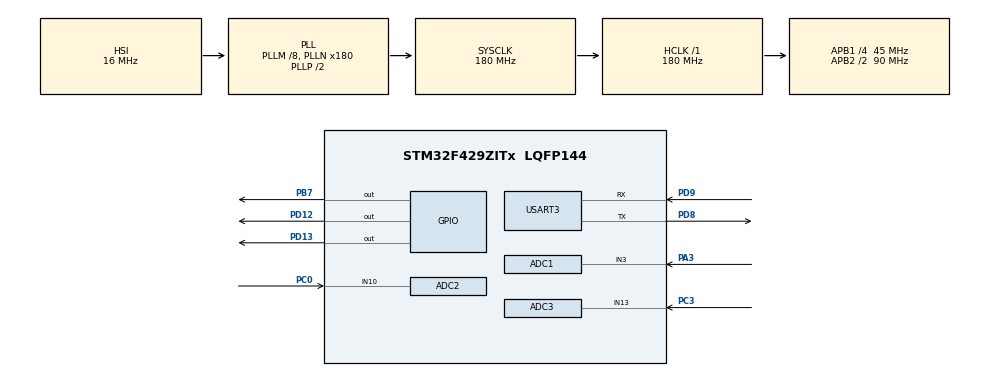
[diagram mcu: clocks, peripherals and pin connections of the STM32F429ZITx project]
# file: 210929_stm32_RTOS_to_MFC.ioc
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ADC1.Channel-1\#ChannelRegularConversion=ADC_CHANNEL_3
ADC1.NbrOfConversionFlag=1
ADC1.Rank-1\#ChannelRegularConversion=1
ADC1.SamplingTime-1\#ChannelRegularConversion=ADC_SAMPLETIME_3CYCLES
ADC1.master=1
ADC2.Channel-0\#ChannelRegularConversion=ADC_CHANNEL_10
ADC2.NbrOfConversionFlag=1
ADC2.Rank-0\#ChannelRegularConversion=1
ADC2.SamplingTime-0\#ChannelRegularConversion=ADC_SAMPLETIME_3CYCLES
ADC3.Channel-0\#ChannelRegularConversion=ADC_CHANNEL_13
ADC3.NbrOfConversionFlag=1
ADC3.Rank-0\#ChannelRegularConversion=1
ADC3.SamplingTime-0\#ChannelRegularConversion=ADC_SAMPLETIME_3CYCLES
FREERTOS.Tasks01=defaultTask,24,128,StartDefaultTask,Default,NULL,Dynamic,NULL,NULL
Mcu.Family=STM32F4
Mcu.Name=STM32F429ZITx
Mcu.Package=LQFP144
NVIC.ADC_IRQn=true\:5\:0\:false\:false\:true\:true\:true\:true
NVIC.PriorityGroup=NVIC_PRIORITYGROUP_4
NVIC.TIM4_IRQn=true\:0\:0\:false\:false\:true\:false\:false\:true
NVIC.TimeBase=TIM4_IRQn
NVIC.TimeBaseIP=TIM4
NVIC.USART3_IRQn=true\:5\:0\:false\:true\:true\:1\:true\:true\:true
PA13.Mode=Serial_Wire
PA13.Signal=SYS_JTMS-SWDIO
PA14.Mode=Serial_Wire
PA14.Signal=SYS_JTCK-SWCLK
PA3.Signal=ADCx_IN3
PB7.Signal=GPIO_Output
PC0.Signal=ADCx_IN10
PC14/OSC32_IN.Mode=LSE-External-Oscillator
PC14/OSC32_IN.Signal=RCC_OSC32_IN
PC15/OSC32_OUT.Mode=LSE-External-Oscillator
PC15/OSC32_OUT.Signal=RCC_OSC32_OUT
PC3.Signal=ADCx_IN13
PD12.Signal=GPIO_Output
PD13.Signal=GPIO_Output
PD8.Mode=Asynchronous
PD8.Signal=USART3_TX
PD9.Mode=Asynchronous
PD9.Signal=USART3_RX
ProjectManager.HeapSize=0x200
ProjectManager.StackSize=0x400
ProjectManager.TargetToolchain=STM32CubeIDE
RCC.48MHZClocksFreq_Value=90000000
RCC.AHBFreq_Value=180000000
RCC.APB1CLKDivider=RCC_HCLK_DIV4
RCC.APB1Freq_Value=45000000
RCC.APB1TimFreq_Value=90000000
RCC.APB2CLKDivider=RCC_HCLK_DIV2
RCC.APB2Freq_Value=90000000
RCC.APB2TimFreq_Value=180000000
RCC.CortexFreq_Value=180000000
RCC.HCLKFreq_Value=180000000
RCC.HSE_VALUE=25000000
RCC.HSI_VALUE=16000000
RCC.PLLM=8
RCC.PLLN=180
RCC.RCC_RTC_Clock_Source=RCC_RTCCLKSOURCE_LSE
RCC.RCC_RTC_Clock_SourceVirtual=RCC_RTCCLKSOURCE_LSE
RCC.SYSCLKFreq_VALUE=180000000
RCC.SYSCLKSource=RCC_SYSCLKSOURCE_PLLCLK
RCC.VCOOutputFreq_Value=360000000
SH.ADCx_IN10.0=ADC2_IN10,IN10
SH.ADCx_IN13.0=ADC3_IN13,IN13
SH.ADCx_IN3.0=ADC1_IN3,IN3
USART3.VirtualMode=VM_ASYNC
VP_FREERTOS_VS_CMSIS_V2.Mode=CMSIS_V2
VP_RTC_VS_RTC_Activate.Mode=RTC_Enabled
VP_SYS_VS_tim4.Mode=TIM4
board=custom

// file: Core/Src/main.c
/*
/* USER CODE BEGIN Header */
/**
  ******************************************************************************
  * @file           : main.c
  * @brief          : Main program body
  ******************************************************************************
  * @attention
  *
  * <h2><center>&copy; Copyright (c) 2021 STMicroelectronics.
  * All rights reserved.</center></h2>
  *
  * This software component is licensed by ST under BSD 3-Clause license,
  * the "License"; You may not use this file except in compliance with the
  * License. You may obtain a copy of the License at:
  *                        opensource.org/licenses/BSD-3-Clause
  *
  ******************************************************************************
  */
/* USER CODE END Header */

#include "main.h"
#include "cmsis_os.h"

ADC_HandleTypeDef hadc1;
ADC_HandleTypeDef hadc2;
ADC_HandleTypeDef hadc3;

RTC_HandleTypeDef hrtc;

UART_HandleTypeDef huart3;

/* Definitions for defaultTask */
osThreadId_t defaultTaskHandle;
const osThreadAttr_t defaultTask_attributes = {
  .name = "defaultTask",
  .priority = (osPriority_t) osPriorityNormal,
  .stack_size = 128 * 4
};
/* USER CODE BEGIN PV */
osThreadId_t LED1TaskHandle;
const osThreadAttr_t LED1Task_attributes = {
  .name = "LED1 Task",
  .priority = (osPriority_t) osPriorityNormal,
  .stack_size = 128 * 4
};

osThreadId_t LED2TaskHandle;
const osThreadAttr_t LED2Task_attributes = {
  .name = "LED2 Task",
  .priority = (osPriority_t) osPriorityNormal,
  .stack_size = 128 * 4
};

osThreadId_t RotationTaskHandle;
const osThreadAttr_t RotationTask_attributes = {
  .name = "rotation Task",
  .priority = (osPriority_t) osPriorityNormal,
  .stack_size = 128 * 4
};

osThreadId_t SoundTaskHandle;
const osThreadAttr_t SoundTask_attributes = {
  .name = "Sound Task",
  .priority = (osPriority_t) osPriorityNormal,
  .stack_size = 128 * 4
};

osThreadId_t TouchTaskHandle;
const osThreadAttr_t TouchTask_attributes = {
  .name = "TouchTask",
  .priority = (osPriority_t) osPriorityNormal,
  .stack_size = 128 * 4
};

/* USER CODE END PV */

void SystemClock_Config(void);
static void MX_GPIO_Init(void);
static void MX_USART3_UART_Init(void);
static void MX_ADC1_Init(void);
static void MX_ADC2_Init(void);
static void MX_ADC3_Init(void);
static void MX_RTC_Init(void);

void StartDefaultTask(void *argument);

static void MX_NVIC_Init(void);
/* USER CODE BEGIN PFP */
/*각 센서와 LED 함수*/
void LED1Task(void *argument);
void LED2Task(void *argument);
void RotationTask(void *argument);
void SoundTask(void *argument);
void TouchTask(void *argument);

/* USER CODE END PFP */

/* USER CODE BEGIN 0 */
uint32_t adc_value1,adc_value2,adc_value3,adc_value4,adc_value5;
char uart_buf1[30],uart_buf2[30],uart_buf3[30],uart_buf4[30],uart_buf5[30];

/*UART3라는 한 자원을 여러개의 task들이 공유할 때는 mutex라는 자원을 이용해야 한다.
이렇게 해야 한 task가 자원을 사용할 때 다른 task가 그 자원을 사용하지 못함. */
osMutexDef(uart_mutex);
//Mutex 선언
osMutexId(uart_mutex_id);
//Mutex ID

char uart_buf[100];

int i;
void HAL_UART_RxCpltCallback(UART_HandleTypeDef *huart)
{
	if(huart->Instance == USART3)
	{

		HAL_UART_Receive_IT(&huart3, &uart_buf, 1);

	}
}

/* USER CODE END 0 */

int main(void)
{

  /* MCU Configuration--------------------------------------------------------*/

  /* Reset of all peripherals, Initializes the Flash interface and the Systick. */
  HAL_Init();

  /* Configure the system clock */
  SystemClock_Config();

  /* Initialize all configured peripherals */
  MX_GPIO_Init();
  MX_USART3_UART_Init();
  MX_ADC1_Init();
  MX_ADC2_Init();
  MX_ADC3_Init();
  MX_RTC_Init();

  /* Initialize interrupts */
  MX_NVIC_Init();
  /* USER CODE BEGIN 2 */
  HAL_UART_Receive_IT(&huart3,&uart_buf,1);

  /* USER CODE END 2 */

  /* Init scheduler */
  osKernelInitialize();

  /* Create the thread(s) */
  /* creation of defaultTask */
  defaultTaskHandle = osThreadNew(StartDefaultTask, NULL, &defaultTask_attributes);

  /* USER CODE BEGIN RTOS_THREADS */
  //uart_mutex_id = osMutexCreate(osMutex(uart_mutex));

  LED1TaskHandle = osThreadNew(LED1Task, NULL, &LED1Task_attributes);
  LED2TaskHandle = osThreadNew(LED2Task, NULL, &LED2Task_attributes);

  RotationTaskHandle = osThreadNew(RotationTask, NULL, &RotationTask_attributes);
  SoundTaskHandle = osThreadNew(SoundTask, NULL, &SoundTask_attributes);
  TouchTaskHandle = osThreadNew(TouchTask, NULL, &TouchTask_attributes);

  /* add threads, ... */
  /* USER CODE END RTOS_THREADS */

  /* Start scheduler */
  osKernelStart();

  /* We should never get here as control is now taken by the scheduler */
  /* Infinite loop */
  while (1)
  {

  }
}

void SystemClock_Config(void)
{
  RCC_OscInitTypeDef RCC_OscInitStruct = {0};
  RCC_ClkInitTypeDef RCC_ClkInitStruct = {0};
  RCC_PeriphCLKInitTypeDef PeriphClkInitStruct = {0};

  /** Configure the main internal regulator output voltage
  */
  __HAL_RCC_PWR_CLK_ENABLE();
  __HAL_PWR_VOLTAGESCALING_CONFIG(PWR_REGULATOR_VOLTAGE_SCALE1);
  /** Initializes the CPU, AHB and APB busses clocks
  */
  RCC_OscInitStruct.OscillatorType = RCC_OSCILLATORTYPE_HSI|RCC_OSCILLATORTYPE_LSE;
  RCC_OscInitStruct.LSEState = RCC_LSE_ON;
  RCC_OscInitStruct.HSIState = RCC_HSI_ON;
  RCC_OscInitStruct.HSICalibrationValue = RCC_HSICALIBRATION_DEFAULT;
  RCC_OscInitStruct.PLL.PLLState = RCC_PLL_ON;
  RCC_OscInitStruct.PLL.PLLSource = RCC_PLLSOURCE_HSI;
  RCC_OscInitStruct.PLL.PLLM = 8;
  RCC_OscInitStruct.PLL.PLLN = 180;
  RCC_OscInitStruct.PLL.PLLP = RCC_PLLP_DIV2;
  RCC_OscInitStruct.PLL.PLLQ = 4;
  if (HAL_RCC_OscConfig(&RCC_OscInitStruct) != HAL_OK)
  {
    Error_Handler();
  }
  /** Activate the Over-Drive mode
  */
  if (HAL_PWREx_EnableOverDrive() != HAL_OK)
  {
    Error_Handler();
  }
  /** Initializes the CPU, AHB and APB busses clocks
  */
  RCC_ClkInitStruct.ClockType = RCC_CLOCKTYPE_HCLK|RCC_CLOCKTYPE_SYSCLK
                              |RCC_CLOCKTYPE_PCLK1|RCC_CLOCKTYPE_PCLK2;
  RCC_ClkInitStruct.SYSCLKSource = RCC_SYSCLKSOURCE_PLLCLK;
  RCC_ClkInitStruct.AHBCLKDivider = RCC_SYSCLK_DIV1;
  RCC_ClkInitStruct.APB1CLKDivider = RCC_HCLK_DIV4;
  RCC_ClkInitStruct.APB2CLKDivider = RCC_HCLK_DIV2;

  if (HAL_RCC_ClockConfig(&RCC_ClkInitStruct, FLASH_LATENCY_5) != HAL_OK)
  {
    Error_Handler();
  }
  PeriphClkInitStruct.PeriphClockSelection = RCC_PERIPHCLK_RTC;
  PeriphClkInitStruct.RTCClockSelection = RCC_RTCCLKSOURCE_LSE;
  if (HAL_RCCEx_PeriphCLKConfig(&PeriphClkInitStruct) != HAL_OK)
  {
    Error_Handler();
  }
}

/**
  * @brief NVIC Configuration.
  * @retval None
  */
static void MX_NVIC_Init(void)
{
  /* USART3_IRQn interrupt configuration */
  HAL_NVIC_SetPriority(USART3_IRQn, 5, 0);
  HAL_NVIC_EnableIRQ(USART3_IRQn);
}

static void MX_ADC1_Init(void)
{

  ADC_ChannelConfTypeDef sConfig = {0};

  /** Configure the global features of the ADC (Clock, Resolution, Data Alignment and number of conversion)
  */
  hadc1.Instance = ADC1;
  hadc1.Init.ClockPrescaler = ADC_CLOCK_SYNC_PCLK_DIV4;
  hadc1.Init.Resolution = ADC_RESOLUTION_12B;
  hadc1.Init.ScanConvMode = DISABLE;
  hadc1.Init.ContinuousConvMode = DISABLE;
  hadc1.Init.DiscontinuousConvMode = DISABLE;
  hadc1.Init.ExternalTrigConvEdge = ADC_EXTERNALTRIGCONVEDGE_NONE;
  hadc1.Init.ExternalTrigConv = ADC_SOFTWARE_START;
  hadc1.Init.DataAlign = ADC_DATAALIGN_RIGHT;
  hadc1.Init.NbrOfConversion = 1;
  hadc1.Init.DMAContinuousRequests = DISABLE;
  hadc1.Init.EOCSelection = ADC_EOC_SINGLE_CONV;
  if (HAL_ADC_Init(&hadc1) != HAL_OK)
  {
    Error_Handler();
  }
  /** Configure for the selected ADC regular channel its corresponding rank in the sequencer and its sample time.
  */
  sConfig.Channel = ADC_CHANNEL_3;
  sConfig.Rank = 1;
  sConfig.SamplingTime = ADC_SAMPLETIME_3CYCLES;
  if (HAL_ADC_ConfigChannel(&hadc1, &sConfig) != HAL_OK)
  {
    Error_Handler();
  }

}

static void MX_ADC2_Init(void)
{

  ADC_ChannelConfTypeDef sConfig = {0};

  /** Configure the global features of the ADC (Clock, Resolution, Data Alignment and number of conversion)
  */
  hadc2.Instance = ADC2;
  hadc2.Init.ClockPrescaler = ADC_CLOCK_SYNC_PCLK_DIV4;
  hadc2.Init.Resolution = ADC_RESOLUTION_12B;
  hadc2.Init.ScanConvMode = DISABLE;
  hadc2.Init.ContinuousConvMode = DISABLE;
  hadc2.Init.DiscontinuousConvMode = DISABLE;
  hadc2.Init.ExternalTrigConvEdge = ADC_EXTERNALTRIGCONVEDGE_NONE;
  hadc2.Init.ExternalTrigConv = ADC_SOFTWARE_START;
  hadc2.Init.DataAlign = ADC_DATAALIGN_RIGHT;
  hadc2.Init.NbrOfConversion = 1;
  hadc2.Init.DMAContinuousRequests = DISABLE;
  hadc2.Init.EOCSelection = ADC_EOC_SINGLE_CONV;
  if (HAL_ADC_Init(&hadc2) != HAL_OK)
  {
    Error_Handler();
  }
  /** Configure for the selected ADC regular channel its corresponding rank in the sequencer and its sample time.
  */
  sConfig.Channel = ADC_CHANNEL_10;
  sConfig.Rank = 1;
  sConfig.SamplingTime = ADC_SAMPLETIME_3CYCLES;
  if (HAL_ADC_ConfigChannel(&hadc2, &sConfig) != HAL_OK)
  {
    Error_Handler();
  }

}

static void MX_ADC3_Init(void)
{

  ADC_ChannelConfTypeDef sConfig = {0};

  /** Configure the global features of the ADC (Clock, Resolution, Data Alignment and number of conversion)
  */
  hadc3.Instance = ADC3;
  hadc3.Init.ClockPrescaler = ADC_CLOCK_SYNC_PCLK_DIV4;
  hadc3.Init.Resolution = ADC_RESOLUTION_12B;
  hadc3.Init.ScanConvMode = DISABLE;
  hadc3.Init.ContinuousConvMode = DISABLE;
  hadc3.Init.DiscontinuousConvMode = DISABLE;
  hadc3.Init.ExternalTrigConvEdge = ADC_EXTERNALTRIGCONVEDGE_NONE;
  hadc3.Init.ExternalTrigConv = ADC_SOFTWARE_START;
  hadc3.Init.DataAlign = ADC_DATAALIGN_RIGHT;
  hadc3.Init.NbrOfConversion = 1;
  hadc3.Init.DMAContinuousRequests = DISABLE;
  hadc3.Init.EOCSelection = ADC_EOC_SINGLE_CONV;
  if (HAL_ADC_Init(&hadc3) != HAL_OK)
  {
    Error_Handler();
  }
  /** Configure for the selected ADC regular channel its corresponding rank in the sequencer and its sample time.
  */
  sConfig.Channel = ADC_CHANNEL_13;
  sConfig.Rank = 1;
  sConfig.SamplingTime = ADC_SAMPLETIME_3CYCLES;
  if (HAL_ADC_ConfigChannel(&hadc3, &sConfig) != HAL_OK)
  {
    Error_Handler();
  }

}

static void MX_RTC_Init(void)
{

  /** Initialize RTC Only
  */
  hrtc.Instance = RTC;
  hrtc.Init.HourFormat = RTC_HOURFORMAT_24;
  hrtc.Init.AsynchPrediv = 127;
  hrtc.Init.SynchPrediv = 255;
  hrtc.Init.OutPut = RTC_OUTPUT_DISABLE;
  hrtc.Init.OutPutPolarity = RTC_OUTPUT_POLARITY_HIGH;
  hrtc.Init.OutPutType = RTC_OUTPUT_TYPE_OPENDRAIN;
  if (HAL_RTC_Init(&hrtc) != HAL_OK)
  {
    Error_Handler();
  }

}

static void MX_USART3_UART_Init(void)
{

  huart3.Instance = USART3;
  huart3.Init.BaudRate = 115200;
  huart3.Init.WordLength = UART_WORDLENGTH_8B;
  huart3.Init.StopBits = UART_STOPBITS_1;
  huart3.Init.Parity = UART_PARITY_NONE;
  huart3.Init.Mode = UART_MODE_TX_RX;
  huart3.Init.HwFlowCtl = UART_HWCONTROL_NONE;
  huart3.Init.OverSampling = UART_OVERSAMPLING_16;
  if (HAL_UART_Init(&huart3) != HAL_OK)
  {
    Error_Handler();
  }

}

static void MX_GPIO_Init(void)
{
  GPIO_InitTypeDef GPIO_InitStruct = {0};

  /* GPIO Ports Clock Enable */
  __HAL_RCC_GPIOC_CLK_ENABLE();
  __HAL_RCC_GPIOA_CLK_ENABLE();
  __HAL_RCC_GPIOD_CLK_ENABLE();
  __HAL_RCC_GPIOB_CLK_ENABLE();

  /*Configure GPIO pin Output Level */
  HAL_GPIO_WritePin(GPIOD, GPIO_PIN_12|GPIO_PIN_13, GPIO_PIN_RESET);

  /*Configure GPIO pin Output Level */
  HAL_GPIO_WritePin(GPIOB, GPIO_PIN_7, GPIO_PIN_RESET);

  /*Configure GPIO pins : PD12 PD13 */
  GPIO_InitStruct.Pin = GPIO_PIN_12|GPIO_PIN_13;
  GPIO_InitStruct.Mode = GPIO_MODE_OUTPUT_PP;
  GPIO_InitStruct.Pull = GPIO_NOPULL;
  GPIO_InitStruct.Speed = GPIO_SPEED_FREQ_LOW;
  HAL_GPIO_Init(GPIOD, &GPIO_InitStruct);

  /*Configure GPIO pin : PB7 */
  GPIO_InitStruct.Pin = GPIO_PIN_7;
  GPIO_InitStruct.Mode = GPIO_MODE_OUTPUT_PP;
  GPIO_InitStruct.Pull = GPIO_NOPULL;
  GPIO_InitStruct.Speed = GPIO_SPEED_FREQ_LOW;
  HAL_GPIO_Init(GPIOB, &GPIO_InitStruct);

}

/* USER CODE BEGIN 4 */
void LED1Task(void *argument)
{

  /* Infinite loop */
  for(;;)
  {
	  HAL_GPIO_TogglePin(GPIOB,GPIO_PIN_7);
	  osDelay(1500);
  }
}

void LED2Task(void *argument)
{

  /* Infinite loop */
  for(;;)
  {
	  HAL_GPIO_TogglePin(GPIOD,GPIO_PIN_12);
	  osDelay(500);
  }
}

void RotationTask(void *argument)
{

  /* Infinite loop */
  for(;;)
  {
	  HAL_ADC_Start(&hadc1);
	  HAL_ADC_PollForConversion(&hadc1,500);
	  adc_value1 = HAL_ADC_GetValue(&hadc1);
	  HAL_ADC_Stop(&hadc1);
	  osMutexWait(uart_mutex_id, osWaitForever);
	  memset(uart_buf1,0,sizeof(uart_buf1));
	  sprintf(uart_buf1,"     Rotation =%d \r\n", adc_value1);
	  HAL_UART_Transmit_IT(&huart3,uart_buf1,sizeof(uart_buf1));
	  osDelay(1500);
	  osMutexRelease(uart_mutex_id);
  }
}

void SoundTask(void *argument)
{

  /* Infinite loop */
  for(;;)
  {
	  HAL_ADC_Start(&hadc2);
	  HAL_ADC_PollForConversion(&hadc2,500);
	  adc_value2 = HAL_ADC_GetValue(&hadc2);
	  HAL_ADC_Stop(&hadc2);
	  osMutexWait(uart_mutex_id, osWaitForever);
	  memset(uart_buf2,0,sizeof(uart_buf2));
	  sprintf(uart_buf2,"            Sound =%d\r\n", adc_value2);
	  HAL_UART_Transmit_IT(&huart3,uart_buf2,sizeof(uart_buf2));
	  osDelay(100);
	  osMutexRelease(uart_mutex_id);
  }
}
void TouchTask(void *argument)
{

  /* Infinite loop */
  for(;;)
  {
	  HAL_ADC_Start(&hadc3);
	  HAL_ADC_PollForConversion(&hadc3,500);
	  adc_value3 = HAL_ADC_GetValue(&hadc3);
	  HAL_ADC_Stop(&hadc3);
	  osMutexWait(uart_mutex_id, osWaitForever);
	  memset(uart_buf3,0,sizeof(uart_buf3));
	  sprintf(uart_buf3,"Touch =%d\r\n", adc_value3);
	  HAL_UART_Transmit_IT(&huart3,uart_buf3,sizeof(uart_buf3));
	  osDelay(500);
	  osMutexRelease(uart_mutex_id);
  }
}
/* USER CODE END 4 */

void StartDefaultTask(void *argument)
{
  /* USER CODE BEGIN 5 */

  /* Infinite loop */
  for(;;)
  {
	  osDelay(100);
  }
  /* USER CODE END 5 */
}

 /**
  * @brief  Period elapsed callback in non blocking mode
  * @note   This function is called  when TIM4 interrupt took place, inside
  * HAL_TIM_IRQHandler(). It makes a direct call to HAL_IncTick() to increment
  * a global variable "uwTick" used as application time base.
  * @param  htim : TIM handle
  * @retval None
  */
void HAL_TIM_PeriodElapsedCallback(TIM_HandleTypeDef *htim)
{
  if (htim->Instance == TIM4) {
    HAL_IncTick();
  }
}

void Error_Handler(void)
{
}

/************************ (C) COPYRIGHT STMicroelectronics *****END OF FILE****/
